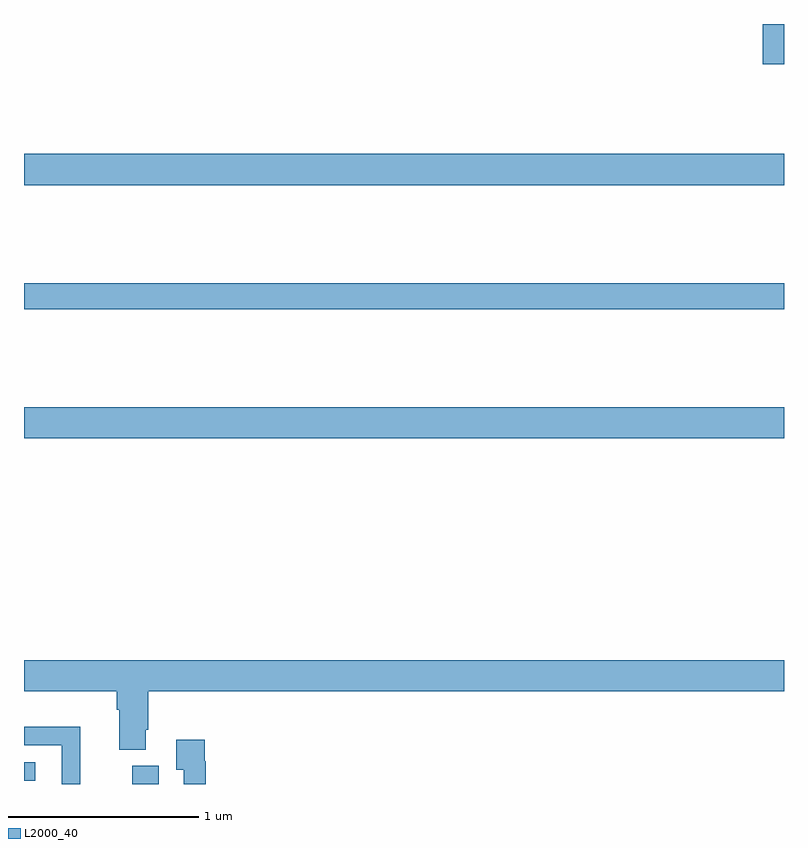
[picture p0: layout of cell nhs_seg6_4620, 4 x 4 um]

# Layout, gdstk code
import gdstk
lib = gdstk.Library(unit=1e-6, precision=1e-09)
def R(c, l, rs):  # rectangles x0, y0, x1, y1
    for r in rs: c.add(gdstk.rectangle(r[:2], r[2:], *l))
def P(c, l, *ps):  # polygons
    for p in ps: c.add(gdstk.Polygon(p, *l))
L2000_40 = (2000, 40)

nhs_seg6_4620 = lib.new_cell('nhs_seg6_4620')
R(nhs_seg6_4620, L2000_40, [(383.57,961.5,383.71,961.596), (383,961.518,383.059,961.614), (383,963.32,387,963.484), (383,964,387,964.136), (383,964.652,387,964.816), (386.888,965.289,387,965.5)])
P(nhs_seg6_4620, L2000_40, [(383.641,961.786),(383.654,961.786),(383.654,961.988),(387,961.988),(387,962.152),(383,962.152),(383,961.988),(383.489,961.988),(383.489,961.892),(383.501,961.892),(383.501,961.681),(383.641,961.681)],
  [(383.297,961.802),(383,961.802),(383,961.704),(383.199,961.704),(383.199,961.5),(383.297,961.5)],
  [(383.957,961.619),(383.95,961.619),(383.95,961.732),(383.801,961.732),(383.801,961.576),(383.841,961.576),(383.841,961.5),(383.957,961.5)])

lib.write_gds('nhs_seg6_4620.gds')
